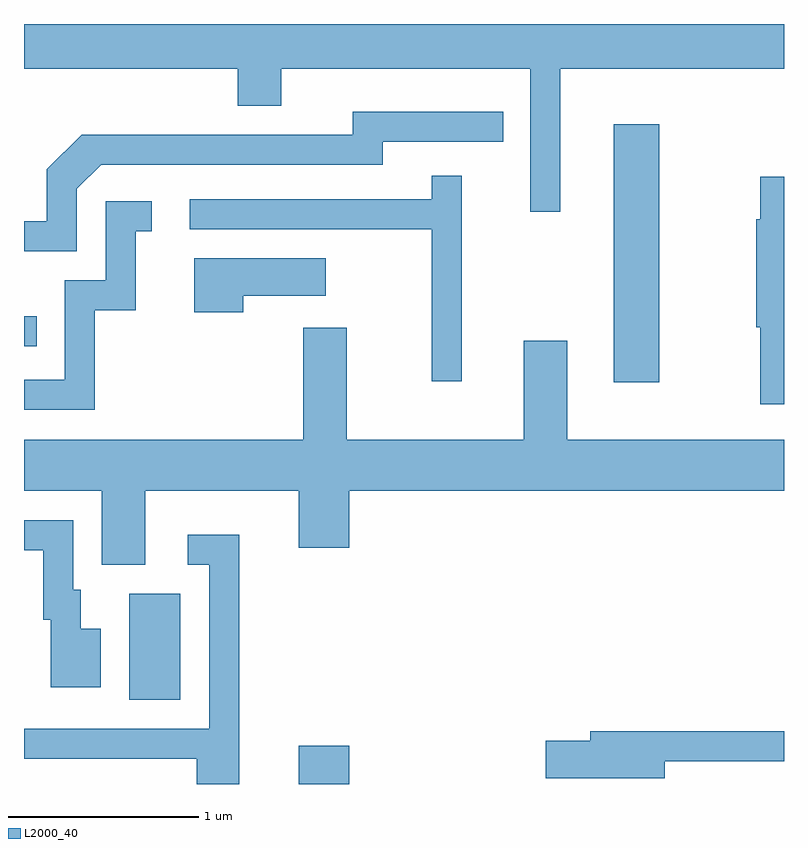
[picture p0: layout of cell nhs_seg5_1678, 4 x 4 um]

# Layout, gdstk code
import gdstk
lib = gdstk.Library(unit=1e-6, precision=1e-09)
def R(c, l, rs):  # rectangles x0, y0, x1, y1
    for r in rs: c.add(gdstk.rectangle(r[:2], r[2:], *l))
def P(c, l, *ps):  # polygons
    for p in ps: c.add(gdstk.Polygon(p, *l))
L2000_40 = (2000, 40)

nhs_seg5_1678 = lib.new_cell('nhs_seg5_1678')
R(nhs_seg5_1678, L2000_40, [(235.056,1524.072,235.324,1524.274), (234.166,1524.516,234.434,1525.074), (236.716,1526.186,236.954,1527.544), (233.611,1526.376,233.678,1526.534)])
P(nhs_seg5_1678, L2000_40, [(236.434,1527.836),(237.611,1527.836),(237.611,1528.072),(233.611,1528.072),(233.611,1527.836),(234.736,1527.836),(234.736,1527.641),(234.964,1527.641),(234.964,1527.836),(236.276,1527.836),(236.276,1527.083),(236.434,1527.083)],
  [(233.889,1527.204),(234.017,1527.331),(235.499,1527.331),(235.499,1527.451),(236.133,1527.451),(236.133,1527.609),(235.341,1527.609),(235.341,1527.489),(233.914,1527.489),(233.731,1527.307),(233.731,1527.034),(233.611,1527.034),(233.611,1526.876),(233.889,1526.876)],
  [(235.914,1527.273),(235.756,1527.273),(235.756,1527.149),(234.483,1527.149),(234.483,1526.991),(235.756,1526.991),(235.756,1526.193),(235.914,1526.193)],
  [(237.611,1527.269),(237.486,1527.269),(237.486,1527.044),(237.466,1527.044),(237.466,1526.476),(237.486,1526.476),(237.486,1526.071),(237.611,1526.071)],
  [(233.984,1526.566),(234.199,1526.566),(234.199,1526.981),(234.283,1526.981),(234.283,1527.139),(234.041,1527.139),(234.041,1526.724),(233.826,1526.724),(233.826,1526.199),(233.611,1526.199),(233.611,1526.041),(233.984,1526.041)],
  [(234.764,1526.641),(235.199,1526.641),(235.199,1526.839),(234.506,1526.839),(234.506,1526.556),(234.764,1526.556)],
  [(234.249,1525.616),(235.056,1525.616),(235.056,1525.316),(235.324,1525.316),(235.324,1525.616),(237.611,1525.616),(237.611,1525.884),(236.469,1525.884),(236.469,1526.404),(236.241,1526.404),(236.241,1525.884),(235.309,1525.884),(235.309,1526.474),(235.081,1526.474),(235.081,1525.884),(233.611,1525.884),(233.611,1525.616),(234.021,1525.616),(234.021,1525.226),(234.249,1525.226)],
  [(234.014,1524.889),(233.909,1524.889),(233.909,1525.094),(233.869,1525.094),(233.869,1525.459),(233.611,1525.459),(233.611,1525.301),(233.711,1525.301),(233.711,1524.936),(233.751,1524.936),(233.751,1524.581),(234.014,1524.581)],
  [(234.744,1525.384),(234.473,1525.384),(234.473,1525.226),(234.586,1525.226),(234.586,1524.364),(233.611,1524.364),(233.611,1524.206),(234.521,1524.206),(234.521,1524.072),(234.744,1524.072)],
  [(236.984,1524.191),(237.611,1524.191),(237.611,1524.349),(236.591,1524.349),(236.591,1524.299),(236.356,1524.299),(236.356,1524.101),(236.984,1524.101)])

lib.write_gds('nhs_seg5_1678.gds')
